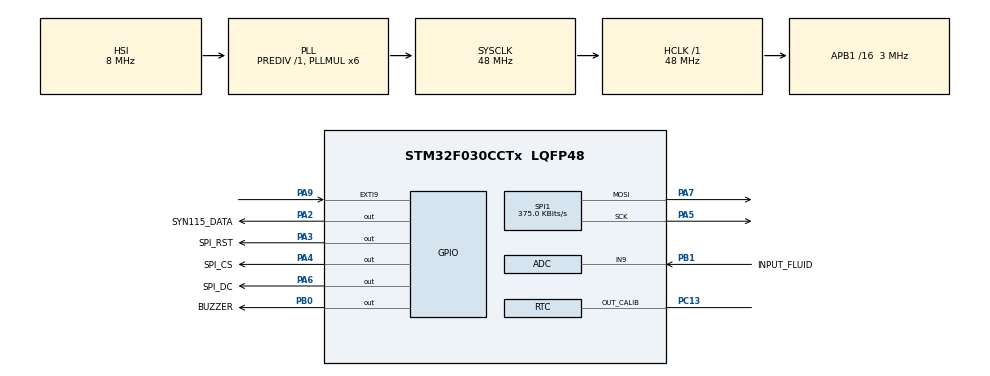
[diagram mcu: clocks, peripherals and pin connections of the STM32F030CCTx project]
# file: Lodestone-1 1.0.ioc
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ADC.ContinuousConvMode=ENABLE
ADC.Resolution=ADC_RESOLUTION_6B
Mcu.Family=STM32F0
Mcu.Name=STM32F030CCTx
Mcu.Package=LQFP48
NVIC.ADC1_IRQn=true\:2\:0\:true\:true\:true\:3\:true\:true\:true
NVIC.EXTI4_15_IRQn=true\:0\:0\:true\:true\:true\:1\:true\:true\:true
NVIC.TIM14_IRQn=true\:3\:0\:true\:false\:true\:true\:true\:true
NVIC.TIM16_IRQn=true\:3\:0\:true\:false\:true\:true\:true\:true
NVIC.TIM7_IRQn=true\:1\:0\:true\:true\:true\:2\:true\:true\:true
PA13.Mode=Serial_Wire
PA13.Signal=SYS_SWDIO
PA14.Mode=Serial_Wire
PA14.Signal=SYS_SWCLK
PA2.GPIO_Label=SYN115_DATA
PA2.GPIO_Speed=GPIO_SPEED_FREQ_HIGH
PA2.Signal=GPIO_Output
PA3.GPIO_Label=SPI_RST
PA3.Signal=GPIO_Output
PA4.GPIO_Label=SPI_CS
PA4.Signal=GPIO_Output
PA5.Mode=TX_Only_Simplex_Unidirect_Master
PA5.Signal=SPI1_SCK
PA6.GPIO_Label=SPI_DC
PA6.Signal=GPIO_Output
PA7.Mode=TX_Only_Simplex_Unidirect_Master
PA7.Signal=SPI1_MOSI
PA9.GPIO_ModeDefaultEXTI=GPIO_MODE_IT_FALLING
PA9.GPIO_PuPd=GPIO_PULLUP
PA9.Signal=GPXTI9
PB0.GPIO_Label=BUZZER
PB0.Signal=GPIO_Output
PB1.GPIO_Label=INPUT_FLUID
PB1.Mode=IN9
PB1.Signal=ADC_IN9
PC13.Mode=Calibration_1Hz
PC13.Signal=RTC_OUT_CALIB
ProjectManager.HeapSize=0x200
ProjectManager.StackSize=0x600
ProjectManager.TargetToolchain=STM32CubeIDE
RCC.AHBFreq_Value=48000000
RCC.APB1CLKDivider=RCC_HCLK_DIV16
RCC.APB1Freq_Value=3000000
RCC.APB1TimFreq_Value=6000000
RCC.HCLKFreq_Value=48000000
RCC.HSE_VALUE=32000000
RCC.PLLMUL=RCC_PLL_MUL6
RCC.SYSCLKFreq_VALUE=48000000
RCC.SYSCLKSource=RCC_SYSCLKSOURCE_PLLCLK
RTC.Alarm-Alarm\ A=RTC_ALARM_A
RTC.Date=2
RTC.Format=RTC_FORMAT_BIN
RTC.Month=RTC_MONTH_SEPTEMBER
RTC.StoreOperation=RTC_STOREOPERATION_RESET
RTC.SynchPrediv=299
RTC.Year=24
SPI1.BaudRatePrescaler=SPI_BAUDRATEPRESCALER_8
SPI1.CalculateBaudRate=375.0 KBits/s
SPI1.DataSize=SPI_DATASIZE_8BIT
SPI1.Direction=SPI_DIRECTION_2LINES
SPI1.Mode=SPI_MODE_MASTER
SPI1.VirtualType=VM_MASTER
TIM14.AutoReloadPreload=TIM_AUTORELOAD_PRELOAD_ENABLE
TIM14.Period=1
TIM14.Prescaler=600
TIM16.Prescaler=48000
TIM7.Period=5000
TIM7.Prescaler=6000
VP_RTC_VS_RTC_Activate.Mode=RTC_Enabled
VP_RTC_VS_RTC_Alarm_A_Intern.Mode=Alarm A
VP_RTC_VS_RTC_Calendar.Mode=RTC_Calendar
VP_TIM14_VS_ClockSourceINT.Mode=Enable_Timer
VP_TIM16_VS_ClockSourceINT.Mode=Enable_Timer
VP_TIM7_VS_ClockSourceINT.Mode=Enable_Timer
board=custom

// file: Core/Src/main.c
/* USER CODE BEGIN Header */
/**
  ******************************************************************************
  * @file           : main.c
  * @brief          : Main program body
  ******************************************************************************
  * @attention
  *
  * Copyright (c) 2024 STMicroelectronics.
  * All rights reserved.
  *
  * This software is licensed under terms that can be found in the LICENSE file
  * in the root directory of this software component.
  * If no LICENSE file comes with this software, it is provided AS-IS.
  *
  ******************************************************************************
  */
/* USER CODE END Header */
#include "main.h"

/* USER CODE BEGIN PD */
//#define RTC_SET_VALUES
/* USER CODE END PD */

ADC_HandleTypeDef hadc;

RTC_HandleTypeDef hrtc;

SPI_HandleTypeDef hspi1;

TIM_HandleTypeDef htim7;
TIM_HandleTypeDef htim14;
TIM_HandleTypeDef htim16;

/* USER CODE BEGIN PV */
RTC_AlarmTypeDef sAlarm;
RTC_TimeTypeDef sTime;
RTC_DateTypeDef sDate;
extern int symbolHorizontalShift;
extern int symbolVerticalShift;
extern int menuTriggered;
RTC_TimeTypeDef * bufTime;
RTC_DateTypeDef * bufDate;
/* USER CODE END PV */

void SystemClock_Config(void);
static void MX_GPIO_Init(void);
static void MX_ADC_Init(void);
static void MX_RTC_Init(void);
static void MX_SPI1_Init(void);
static void MX_TIM7_Init(void);
static void MX_TIM14_Init(void);
static void MX_TIM16_Init(void);
static void MX_NVIC_Init(void);

int main(void)
{

  /* MCU Configuration--------------------------------------------------------*/

  /* Reset of all peripherals, Initializes the Flash interface and the Systick. */
  HAL_Init();

  /* Configure the system clock */
  SystemClock_Config();

  /* Initialize all configured peripherals */
  MX_GPIO_Init();
  MX_ADC_Init();
  MX_RTC_Init();
  MX_SPI1_Init();
  MX_TIM7_Init();
  MX_TIM14_Init();
  MX_TIM16_Init();

  /* Initialize interrupts */
  MX_NVIC_Init();
  /* USER CODE BEGIN 2 */
		ssd1306_Init();
		HAL_TIM_Base_Stop_IT(&htim7);
		htim7.Instance->CNT=0;
		TIM7->SR=0;
		extern int nextOrPrev;
		nextOrPrev=CURRENT;
		HAL_GPIO_WritePin(GPIOA, SYN115_DATA_Pin , GPIO_PIN_RESET);
  /* USER CODE END 2 */

  /* Infinite loop */
  while (1)
  {

    /* USER CODE BEGIN 3 */

		 HAL_SuspendTick();
		 HAL_PWR_EnterSLEEPMode(PWR_LOWPOWERREGULATOR_ON, PWR_SLEEPENTRY_WFI);
  }
  /* USER CODE END 3 */
}

void SystemClock_Config(void)
{
  RCC_OscInitTypeDef RCC_OscInitStruct = {0};
  RCC_ClkInitTypeDef RCC_ClkInitStruct = {0};
  RCC_PeriphCLKInitTypeDef PeriphClkInit = {0};

  /** Initializes the RCC Oscillators according to the specified parameters
  * in the RCC_OscInitTypeDef structure.
  */
  RCC_OscInitStruct.OscillatorType = RCC_OSCILLATORTYPE_HSI|RCC_OSCILLATORTYPE_HSI14
                              |RCC_OSCILLATORTYPE_LSI;
  RCC_OscInitStruct.HSIState = RCC_HSI_ON;
  RCC_OscInitStruct.HSI14State = RCC_HSI14_ON;
  RCC_OscInitStruct.HSICalibrationValue = RCC_HSICALIBRATION_DEFAULT;
  RCC_OscInitStruct.HSI14CalibrationValue = 16;
  RCC_OscInitStruct.LSIState = RCC_LSI_ON;
  RCC_OscInitStruct.PLL.PLLState = RCC_PLL_ON;
  RCC_OscInitStruct.PLL.PLLSource = RCC_PLLSOURCE_HSI;
  RCC_OscInitStruct.PLL.PLLMUL = RCC_PLL_MUL6;
  RCC_OscInitStruct.PLL.PREDIV = RCC_PREDIV_DIV1;
  if (HAL_RCC_OscConfig(&RCC_OscInitStruct) != HAL_OK)
  {
    Error_Handler();
  }

  /** Initializes the CPU, AHB and APB buses clocks
  */
  RCC_ClkInitStruct.ClockType = RCC_CLOCKTYPE_HCLK|RCC_CLOCKTYPE_SYSCLK
                              |RCC_CLOCKTYPE_PCLK1;
  RCC_ClkInitStruct.SYSCLKSource = RCC_SYSCLKSOURCE_PLLCLK;
  RCC_ClkInitStruct.AHBCLKDivider = RCC_SYSCLK_DIV1;
  RCC_ClkInitStruct.APB1CLKDivider = RCC_HCLK_DIV16;

  if (HAL_RCC_ClockConfig(&RCC_ClkInitStruct, FLASH_LATENCY_1) != HAL_OK)
  {
    Error_Handler();
  }
  PeriphClkInit.PeriphClockSelection = RCC_PERIPHCLK_RTC;
  PeriphClkInit.RTCClockSelection = RCC_RTCCLKSOURCE_LSI;
  if (HAL_RCCEx_PeriphCLKConfig(&PeriphClkInit) != HAL_OK)
  {
    Error_Handler();
  }
}

/**
  * @brief NVIC Configuration.
  * @retval None
  */
static void MX_NVIC_Init(void)
{
  /* EXTI4_15_IRQn interrupt configuration */
  HAL_NVIC_SetPriority(EXTI4_15_IRQn, 1, 0);
  HAL_NVIC_EnableIRQ(EXTI4_15_IRQn);
  /* TIM7_IRQn interrupt configuration */
  HAL_NVIC_SetPriority(TIM7_IRQn, 2, 0);
  HAL_NVIC_EnableIRQ(TIM7_IRQn);
  /* ADC1_IRQn interrupt configuration */
  HAL_NVIC_SetPriority(ADC1_IRQn, 3, 0);
  HAL_NVIC_EnableIRQ(ADC1_IRQn);
}

static void MX_ADC_Init(void)
{

  ADC_ChannelConfTypeDef sConfig = {0};

  /** Configure the global features of the ADC (Clock, Resolution, Data Alignment and number of conversion)
  */
  hadc.Instance = ADC1;
  hadc.Init.ClockPrescaler = ADC_CLOCK_ASYNC_DIV1;
  hadc.Init.Resolution = ADC_RESOLUTION_6B;
  hadc.Init.DataAlign = ADC_DATAALIGN_RIGHT;
  hadc.Init.ScanConvMode = ADC_SCAN_DIRECTION_FORWARD;
  hadc.Init.EOCSelection = ADC_EOC_SINGLE_CONV;
  hadc.Init.LowPowerAutoWait = DISABLE;
  hadc.Init.LowPowerAutoPowerOff = DISABLE;
  hadc.Init.ContinuousConvMode = ENABLE;
  hadc.Init.DiscontinuousConvMode = DISABLE;
  hadc.Init.ExternalTrigConv = ADC_SOFTWARE_START;
  hadc.Init.ExternalTrigConvEdge = ADC_EXTERNALTRIGCONVEDGE_NONE;
  hadc.Init.DMAContinuousRequests = DISABLE;
  hadc.Init.Overrun = ADC_OVR_DATA_PRESERVED;
  if (HAL_ADC_Init(&hadc) != HAL_OK)
  {
    Error_Handler();
  }

  /** Configure for the selected ADC regular channel to be converted.
  */
  sConfig.Channel = ADC_CHANNEL_9;
  sConfig.Rank = ADC_RANK_CHANNEL_NUMBER;
  sConfig.SamplingTime = ADC_SAMPLETIME_1CYCLE_5;
  if (HAL_ADC_ConfigChannel(&hadc, &sConfig) != HAL_OK)
  {
    Error_Handler();
  }
  /* USER CODE BEGIN ADC_Init 2 */
 // HAL_NVIC_SetPriority(ADC1_IRQn, 1, 0);
 // HAL_NVIC_EnableIRQ(ADC1_IRQn);
  /* USER CODE END ADC_Init 2 */

}

static void MX_RTC_Init(void)
{

  /* USER CODE BEGIN RTC_Init 0 */
#ifdef RTC_SET_VALUES
  /* USER CODE END RTC_Init 0 */

  RTC_TimeTypeDef sTime = {0};
  RTC_DateTypeDef sDate = {0};
  RTC_AlarmTypeDef sAlarm = {0};

  /* USER CODE BEGIN RTC_Init 1 */
#endif
  /* USER CODE END RTC_Init 1 */

  /** Initialize RTC Only
  */
  hrtc.Instance = RTC;
  hrtc.Init.HourFormat = RTC_HOURFORMAT_24;
  hrtc.Init.AsynchPrediv = 127;
  hrtc.Init.SynchPrediv = 299;
  hrtc.Init.OutPut = RTC_OUTPUT_DISABLE;
  hrtc.Init.OutPutPolarity = RTC_OUTPUT_POLARITY_HIGH;
  hrtc.Init.OutPutType = RTC_OUTPUT_TYPE_OPENDRAIN;
  if (HAL_RTC_Init(&hrtc) != HAL_OK)
  {
    Error_Handler();
  }

  /* USER CODE BEGIN Check_RTC_BKUP */
#ifdef RTC_SET_VALUES
  /* USER CODE END Check_RTC_BKUP */

  /** Initialize RTC and set the Time and Date
  */
  sTime.Hours = 19;
  sTime.Minutes = 1;
  sTime.Seconds = 0;
  sTime.DayLightSaving = RTC_DAYLIGHTSAVING_NONE;
  sTime.StoreOperation = RTC_STOREOPERATION_RESET;
  if (HAL_RTC_SetTime(&hrtc, &sTime, RTC_FORMAT_BIN) != HAL_OK)
  {
    Error_Handler();
  }
  sDate.WeekDay = RTC_WEEKDAY_SATURDAY;
  sDate.Month = RTC_MONTH_SEPTEMBER;
  sDate.Date = 28;
  sDate.Year = 24;

  if (HAL_RTC_SetDate(&hrtc, &sDate, RTC_FORMAT_BIN) != HAL_OK)
  {
    Error_Handler();
  }

  /** Enable the Alarm A
  */
  sAlarm.AlarmTime.Hours = 0;
  sAlarm.AlarmTime.Minutes = 0;
  sAlarm.AlarmTime.Seconds = 0;
  sAlarm.AlarmTime.SubSeconds = 0;
  sAlarm.AlarmTime.DayLightSaving = RTC_DAYLIGHTSAVING_NONE;
  sAlarm.AlarmTime.StoreOperation = RTC_STOREOPERATION_RESET;
  sAlarm.AlarmMask = RTC_ALARMMASK_NONE;
  sAlarm.AlarmSubSecondMask = RTC_ALARMSUBSECONDMASK_ALL;
  sAlarm.AlarmDateWeekDaySel = RTC_ALARMDATEWEEKDAYSEL_DATE;
  sAlarm.AlarmDateWeekDay = 1;
  sAlarm.Alarm = RTC_ALARM_A;
  if (HAL_RTC_SetAlarm(&hrtc, &sAlarm, RTC_FORMAT_BIN) != HAL_OK)
  {
    Error_Handler();
  }

  /** Enable Calibration
  */
  if (HAL_RTCEx_SetCalibrationOutPut(&hrtc, RTC_CALIBOUTPUT_1HZ) != HAL_OK)
  {
    Error_Handler();
  }
  /* USER CODE BEGIN RTC_Init 2 */
#endif
  /* USER CODE END RTC_Init 2 */

}

static void MX_SPI1_Init(void)
{

  /* SPI1 parameter configuration*/
  hspi1.Instance = SPI1;
  hspi1.Init.Mode = SPI_MODE_MASTER;
  hspi1.Init.Direction = SPI_DIRECTION_2LINES;
  hspi1.Init.DataSize = SPI_DATASIZE_8BIT;
  hspi1.Init.CLKPolarity = SPI_POLARITY_LOW;
  hspi1.Init.CLKPhase = SPI_PHASE_1EDGE;
  hspi1.Init.NSS = SPI_NSS_SOFT;
  hspi1.Init.BaudRatePrescaler = SPI_BAUDRATEPRESCALER_8;
  hspi1.Init.FirstBit = SPI_FIRSTBIT_MSB;
  hspi1.Init.TIMode = SPI_TIMODE_DISABLE;
  hspi1.Init.CRCCalculation = SPI_CRCCALCULATION_DISABLE;
  hspi1.Init.CRCPolynomial = 7;
  hspi1.Init.CRCLength = SPI_CRC_LENGTH_DATASIZE;
  hspi1.Init.NSSPMode = SPI_NSS_PULSE_ENABLE;
  if (HAL_SPI_Init(&hspi1) != HAL_OK)
  {
    Error_Handler();
  }

}

static void MX_TIM7_Init(void)
{

  htim7.Instance = TIM7;
  htim7.Init.Prescaler = 6000;
  htim7.Init.CounterMode = TIM_COUNTERMODE_UP;
  htim7.Init.Period = 5000;
  htim7.Init.AutoReloadPreload = TIM_AUTORELOAD_PRELOAD_DISABLE;
  if (HAL_TIM_Base_Init(&htim7) != HAL_OK)
  {
    Error_Handler();
  }

}

static void MX_TIM14_Init(void)
{

  htim14.Instance = TIM14;
  htim14.Init.Prescaler = 600;
  htim14.Init.CounterMode = TIM_COUNTERMODE_UP;
  htim14.Init.Period = 1;
  htim14.Init.ClockDivision = TIM_CLOCKDIVISION_DIV1;
  htim14.Init.AutoReloadPreload = TIM_AUTORELOAD_PRELOAD_ENABLE;
  if (HAL_TIM_Base_Init(&htim14) != HAL_OK)
  {
    Error_Handler();
  }

}

static void MX_TIM16_Init(void)
{

  htim16.Instance = TIM16;
  htim16.Init.Prescaler = 48000;
  htim16.Init.CounterMode = TIM_COUNTERMODE_UP;
  htim16.Init.Period = 65535;
  htim16.Init.ClockDivision = TIM_CLOCKDIVISION_DIV1;
  htim16.Init.RepetitionCounter = 0;
  htim16.Init.AutoReloadPreload = TIM_AUTORELOAD_PRELOAD_DISABLE;
  if (HAL_TIM_Base_Init(&htim16) != HAL_OK)
  {
    Error_Handler();
  }

}

static void MX_GPIO_Init(void)
{
  GPIO_InitTypeDef GPIO_InitStruct = {0};

  /* GPIO Ports Clock Enable */
  __HAL_RCC_GPIOC_CLK_ENABLE();
  __HAL_RCC_GPIOF_CLK_ENABLE();
  __HAL_RCC_GPIOA_CLK_ENABLE();
  __HAL_RCC_GPIOB_CLK_ENABLE();

  /*Configure GPIO pin Output Level */
  HAL_GPIO_WritePin(GPIOA, SYN115_DATA_Pin|SPI_RST_Pin|SPI_CS_Pin|SPI_DC_Pin, GPIO_PIN_RESET);

  /*Configure GPIO pin Output Level */
  HAL_GPIO_WritePin(BUZZER_GPIO_Port, BUZZER_Pin, GPIO_PIN_RESET);

  /*Configure GPIO pins : PC14 PC15 */
  GPIO_InitStruct.Pin = GPIO_PIN_14|GPIO_PIN_15;
  GPIO_InitStruct.Mode = GPIO_MODE_ANALOG;
  GPIO_InitStruct.Pull = GPIO_NOPULL;
  HAL_GPIO_Init(GPIOC, &GPIO_InitStruct);

  /*Configure GPIO pins : PF0 PF1 */
  GPIO_InitStruct.Pin = GPIO_PIN_0|GPIO_PIN_1;
  GPIO_InitStruct.Mode = GPIO_MODE_ANALOG;
  GPIO_InitStruct.Pull = GPIO_NOPULL;
  HAL_GPIO_Init(GPIOF, &GPIO_InitStruct);

  /*Configure GPIO pins : PA0 PA1 PA8 PA10
                           PA11 PA12 PA15 */
  GPIO_InitStruct.Pin = GPIO_PIN_0|GPIO_PIN_1|GPIO_PIN_8|GPIO_PIN_10
                          |GPIO_PIN_11|GPIO_PIN_12|GPIO_PIN_15;
  GPIO_InitStruct.Mode = GPIO_MODE_ANALOG;
  GPIO_InitStruct.Pull = GPIO_NOPULL;
  HAL_GPIO_Init(GPIOA, &GPIO_InitStruct);

  /*Configure GPIO pin : SYN115_DATA_Pin */
  GPIO_InitStruct.Pin = SYN115_DATA_Pin;
  GPIO_InitStruct.Mode = GPIO_MODE_OUTPUT_PP;
  GPIO_InitStruct.Pull = GPIO_NOPULL;
  GPIO_InitStruct.Speed = GPIO_SPEED_FREQ_HIGH;
  HAL_GPIO_Init(SYN115_DATA_GPIO_Port, &GPIO_InitStruct);

  /*Configure GPIO pins : SPI_RST_Pin SPI_CS_Pin SPI_DC_Pin */
  GPIO_InitStruct.Pin = SPI_RST_Pin|SPI_CS_Pin|SPI_DC_Pin;
  GPIO_InitStruct.Mode = GPIO_MODE_OUTPUT_PP;
  GPIO_InitStruct.Pull = GPIO_NOPULL;
  GPIO_InitStruct.Speed = GPIO_SPEED_FREQ_LOW;
  HAL_GPIO_Init(GPIOA, &GPIO_InitStruct);

  /*Configure GPIO pin : BUZZER_Pin */
  GPIO_InitStruct.Pin = BUZZER_Pin;
  GPIO_InitStruct.Mode = GPIO_MODE_OUTPUT_PP;
  GPIO_InitStruct.Pull = GPIO_NOPULL;
  GPIO_InitStruct.Speed = GPIO_SPEED_FREQ_LOW;
  HAL_GPIO_Init(BUZZER_GPIO_Port, &GPIO_InitStruct);

  /*Configure GPIO pins : PB2 PB10 PB11 PB12
                           PB13 PB14 PB15 PB3
                           PB4 PB5 PB6 PB7
                           PB8 PB9 */
  GPIO_InitStruct.Pin = GPIO_PIN_2|GPIO_PIN_10|GPIO_PIN_11|GPIO_PIN_12
                          |GPIO_PIN_13|GPIO_PIN_14|GPIO_PIN_15|GPIO_PIN_3
                          |GPIO_PIN_4|GPIO_PIN_5|GPIO_PIN_6|GPIO_PIN_7
                          |GPIO_PIN_8|GPIO_PIN_9;
  GPIO_InitStruct.Mode = GPIO_MODE_ANALOG;
  GPIO_InitStruct.Pull = GPIO_NOPULL;
  HAL_GPIO_Init(GPIOB, &GPIO_InitStruct);

  /*Configure GPIO pin : PA9 */
  GPIO_InitStruct.Pin = GPIO_PIN_9;
  GPIO_InitStruct.Mode = GPIO_MODE_IT_FALLING;
  GPIO_InitStruct.Pull = GPIO_PULLUP;
  HAL_GPIO_Init(GPIOA, &GPIO_InitStruct);

}

void Error_Handler(void)
{
  __disable_irq();
  while (1)
  {
  }
}
